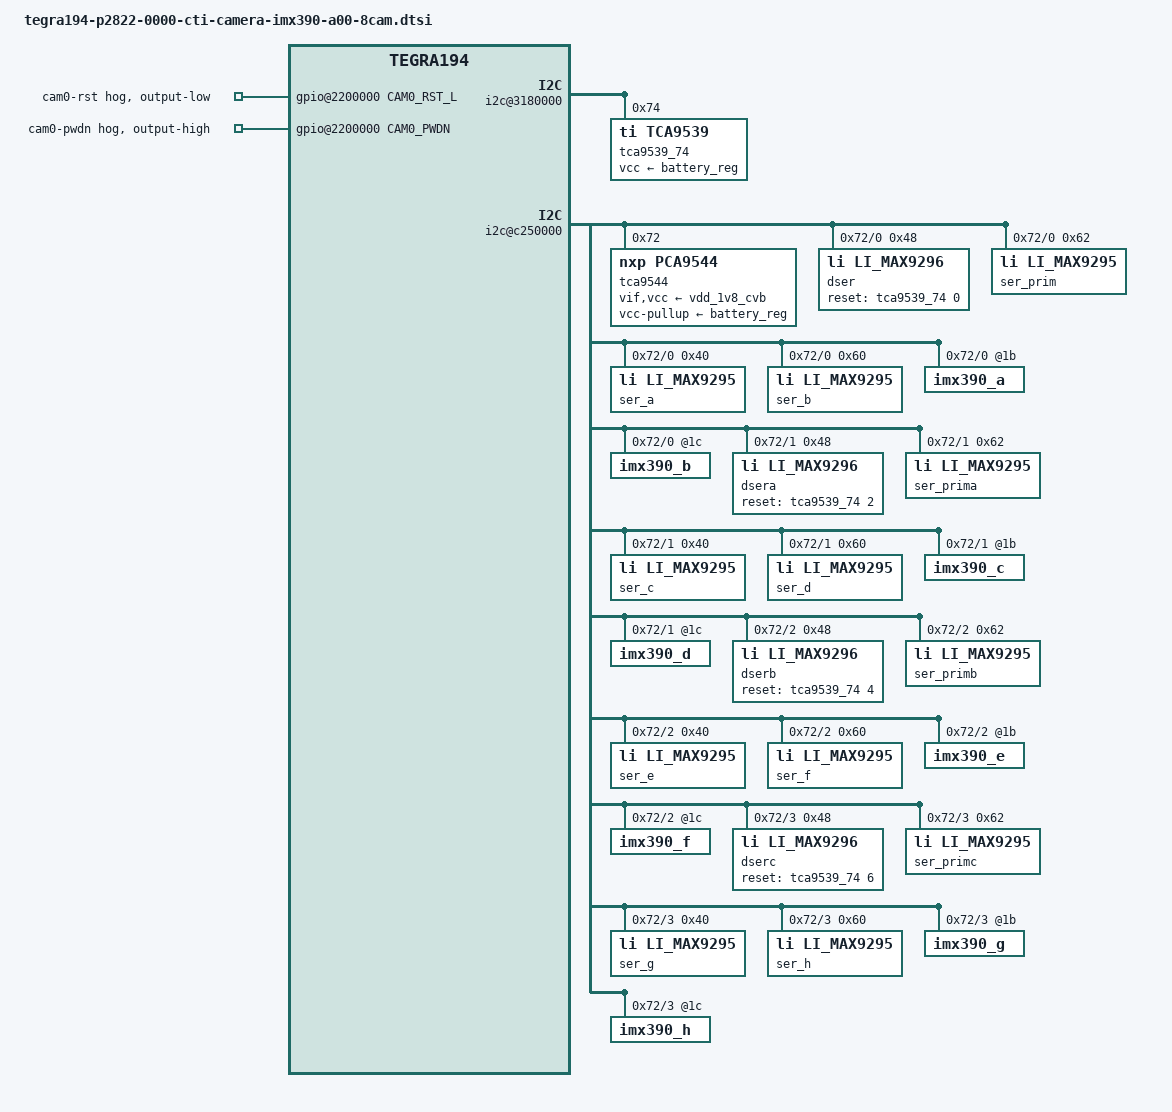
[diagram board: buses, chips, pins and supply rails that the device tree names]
/*
 * Copyright (c) 2018-2019, NVIDIA CORPORATION.  All rights reserved.
 *
 * This program is free software; you can redistribute it and/or modify
 * it under the terms of the GNU General Public License as published by
 * the Free Software Foundation; either version 2 of the License, or
 * (at your option) any later version.
 *
 * This program is distributed in the hope that it will be useful, but WITHOUT
 * ANY WARRANTY; without even the implied warranty of MERCHANTABILITY or
 * FITNESS FOR A PARTICULAR PURPOSE.  See the GNU General Public License for
 * more details.
 *
 * You should have received a copy of the GNU General Public License
 * along with this program.  If not, see <http://www.gnu.org/licenses/>.
 */
#include "tegra194-cti-camera-imx390-a00-8cam.dtsi"
#include "dt-bindings/clock/tegra194-clock.h"
#include "../../common/tegra194-fixed-regulator-p2822-1000.dtsi"

#define CAM0_RST_L	TEGRA194_MAIN_GPIO(H, 3)
#define CAM0_PWDN	TEGRA194_MAIN_GPIO(H, 6)
#define CAM1_RST_L	TEGRA194_MAIN_GPIO(T, 6)
#define CAM1_PWDN	TEGRA194_MAIN_GPIO(T, 5)
#define CAMERA_I2C_MUX_BUS(x) (0x1E + x)

/* camera control gpio definitions */

/ {
	gpio@2200000 {
		camera-control-output-low {
			gpio-hog;
			output-low;
			gpios = <CAM0_RST_L 0>;
			label = "cam0-rst";
			status = "okay";
		};
		camera-control-output-high {
			gpio-hog;
			output-high;
			gpios = <CAM0_PWDN 0>;
			label = "cam0-pwdn";
			status = "okay";
		};
	};

    i2c@3180000 {
		status = "okay";
		#address-cells = <1>;
		#size-cells = <0>;
		tca9539_74: tca9539@74 {
			compatible = "ti,tca9539";
			gpio-controller;
			#gpio-cells = <2>;
			ngpios = <16>;
			reg = <0x74>;
			vcc-supply = <&battery_reg>;
			status = "okay";
			
			tca9539_74_outlow {
				status = "okay";
				gpio-hog;
				gpios = <0 0 1 0 2 0 3 0 4 0 5 0 6 0 7 0 8 0 9 0 10 0 11 0 12 0 13 0>;
				output-low;
				label = "RST_A","PWDN_A","RST_B","PWDN_B","RST_C","PWDN_C","RST_D","PWDN_D";
			};
			tca9539_74_outhigh {
				status = "disabled";
			};
			tca9539_74_input {
				status = "disabled";
			};
		};
	};

	i2c@c250000 {
		tca9544@72 {
			compatible = "nxp,pca9544";
			reg = <0x72>;
			#address-cells = <1>;
			#size-cells = <0>;
			skip_mux_detect = "yes";
			vif-supply = <&vdd_1v8_cvb>;
			vcc-supply = <&vdd_1v8_cvb>;
            vcc-pullup-supply = <&battery_reg>;
			vcc_lp = "vcc";
			force_bus_start = <CAMERA_I2C_MUX_BUS(0)>;

			i2c@0 {
				reg = <0>;
				i2c-mux,deselect-on-exit;
				#address-cells = <1>;
				#size-cells = <0>;
				dser: max9296@48 {
					compatible = "li,li_max9296";
					reg = <0x48>;
					csi-mode = "2x4";
					max-src = <2>;
					reset-gpios = <&tca9539_74 0 GPIO_ACTIVE_HIGH>;
				};
				ser_prim: li_max9295_prim@62 {
					compatible = "li,li_max9295";
					reg = <0x62>;
					is-prim-ser;
				};
				ser_a: li_max9295_a@40 {
					compatible = "li,li_max9295";
					reg = <0x40>;
					nvidia,gmsl-dser-device = <&dser>;
				};
				ser_b: li_max9295_b@60 {
					compatible = "li,li_max9295";
					reg = <0x60>;
					nvidia,gmsl-dser-device = <&dser>;
				};
				imx390_a@1b {
					def-addr = <0x21>;
					/* Define any required hw resources needed by driver */
					/* ie. clocks, io pins, power sources */
					clocks = <&bpmp_clks TEGRA194_CLK_EXTPERIPH1>,
							<&bpmp_clks TEGRA194_CLK_EXTPERIPH1>;
					clock-names = "extperiph1", "pllp_grtba";
					mclk = "extperiph1";
					nvidia,gmsl-ser-device = <&ser_a>;
					nvidia,gmsl-dser-device = <&dser>;
                     
				};
				imx390_b@1c {
					def-addr = <0x21>;
					/* Define any required hw resources needed by driver */
					/* ie. clocks, io pins, power sources */
					clocks = <&bpmp_clks TEGRA194_CLK_EXTPERIPH1>,
							<&bpmp_clks TEGRA194_CLK_EXTPERIPH1>;
					clock-names = "extperiph1", "pllp_grtba";
					mclk = "extperiph1";
					nvidia,gmsl-ser-device = <&ser_b>;
					nvidia,gmsl-dser-device = <&dser>;
                     
				};
			};
			i2c@1 {
				reg = <1>;
				i2c-mux,deselect-on-exit;
				#address-cells = <1>;
				#size-cells = <0>;
				dsera: max9296@48 {
					compatible = "li,li_max9296";
					reg = <0x48>;
					csi-mode = "2x4";
					max-src = <2>;
					reset-gpios = <&tca9539_74 2 GPIO_ACTIVE_HIGH>;
				};
				ser_prima: li_max9295_prim@62 {
					compatible = "li,li_max9295";
					reg = <0x62>;
					is-prim-ser;
				};
				ser_c: li_max9295_a@40 {
					compatible = "li,li_max9295";
					reg = <0x40>;
					nvidia,gmsl-dser-device = <&dsera>;
				};
				ser_d: li_max9295_b@60 {
					compatible = "li,li_max9295";
					reg = <0x60>;
					nvidia,gmsl-dser-device = <&dsera>;
				};
				imx390_c@1b {
					def-addr = <0x21>;
					/* Define any required hw resources needed by driver */
					/* ie. clocks, io pins, power sources */
					clocks = <&bpmp_clks TEGRA194_CLK_EXTPERIPH1>,
							<&bpmp_clks TEGRA194_CLK_EXTPERIPH1>;
					clock-names = "extperiph1", "pllp_grtba";
					mclk = "extperiph1";
					nvidia,gmsl-ser-device = <&ser_c>;
					nvidia,gmsl-dser-device = <&dsera>;
                     
				};
				imx390_d@1c {
					def-addr = <0x21>;
					/* Define any required hw resources needed by driver */
					/* ie. clocks, io pins, power sources */
					clocks = <&bpmp_clks TEGRA194_CLK_EXTPERIPH1>,
							<&bpmp_clks TEGRA194_CLK_EXTPERIPH1>;
					clock-names = "extperiph1", "pllp_grtba";
					mclk = "extperiph1";
					nvidia,gmsl-ser-device = <&ser_d>;
					nvidia,gmsl-dser-device = <&dsera>;
                     
				};
			};
			i2c@2 {
				reg = <2>;
				i2c-mux,deselect-on-exit;
				#address-cells = <1>;
				#size-cells = <0>;
				dserb: max9296@48 {
					compatible = "li,li_max9296";
					reg = <0x48>;
					csi-mode = "2x4";
					max-src = <2>;
					reset-gpios = <&tca9539_74 4 GPIO_ACTIVE_HIGH>;
				};
				ser_primb: li_max9295_prim@62 {
					compatible = "li,li_max9295";
					reg = <0x62>;
					is-prim-ser;
				};
				ser_e: li_max9295_a@40 {
					compatible = "li,li_max9295";
					reg = <0x40>;
					nvidia,gmsl-dser-device = <&dserb>;
				};
				ser_f: li_max9295_b@60 {
					compatible = "li,li_max9295";
					reg = <0x60>;
					nvidia,gmsl-dser-device = <&dserb>;
				};
				imx390_e@1b {
					def-addr = <0x21>;
					/* Define any required hw resources needed by driver */
					/* ie. clocks, io pins, power sources */
					clocks = <&bpmp_clks TEGRA194_CLK_EXTPERIPH1>,
							<&bpmp_clks TEGRA194_CLK_EXTPERIPH1>;
					clock-names = "extperiph1", "pllp_grtba";
					mclk = "extperiph1";
					nvidia,gmsl-ser-device = <&ser_e>;
					nvidia,gmsl-dser-device = <&dserb>;
                     
				};
				imx390_f@1c {
					def-addr = <0x21>;
					/* Define any required hw resources needed by driver */
					/* ie. clocks, io pins, power sources */
					clocks = <&bpmp_clks TEGRA194_CLK_EXTPERIPH1>,
							<&bpmp_clks TEGRA194_CLK_EXTPERIPH1>;
					clock-names = "extperiph1", "pllp_grtba";
					mclk = "extperiph1";
					nvidia,gmsl-ser-device = <&ser_f>;
					nvidia,gmsl-dser-device = <&dserb>;
                     
				};
			};
			i2c@3 {
				reg = <3>;
				i2c-mux,deselect-on-exit;
				#address-cells = <1>;
				#size-cells = <0>;
				dserc: max9296@48 {
					compatible = "li,li_max9296";
					reg = <0x48>;
					csi-mode = "2x4";
					max-src = <2>;
					reset-gpios = <&tca9539_74 6 GPIO_ACTIVE_HIGH>;
				};
				ser_primc: li_max9295_prim@62 {
					compatible = "li,li_max9295";
					reg = <0x62>;
					is-prim-ser;
				};
				ser_g: li_max9295_a@40 {
					compatible = "li,li_max9295";
					reg = <0x40>;
					nvidia,gmsl-dser-device = <&dserc>;
				};
				ser_h: li_max9295_b@60 {
					compatible = "li,li_max9295";
					reg = <0x60>;
					nvidia,gmsl-dser-device = <&dserc>;
				};
				imx390_g@1b {
					def-addr = <0x21>;
					/* Define any required hw resources needed by driver */
					/* ie. clocks, io pins, power sources */
					clocks = <&bpmp_clks TEGRA194_CLK_EXTPERIPH1>,
							<&bpmp_clks TEGRA194_CLK_EXTPERIPH1>;
					clock-names = "extperiph1", "pllp_grtba";
					mclk = "extperiph1";
					nvidia,gmsl-ser-device = <&ser_g>;
					nvidia,gmsl-dser-device = <&dserc>;
                     
				};
				imx390_h@1c {
					def-addr = <0x21>;
					/* Define any required hw resources needed by driver */
					/* ie. clocks, io pins, power sources */
					clocks = <&bpmp_clks TEGRA194_CLK_EXTPERIPH1>,
							<&bpmp_clks TEGRA194_CLK_EXTPERIPH1>;
					clock-names = "extperiph1", "pllp_grtba";
					mclk = "extperiph1";
					nvidia,gmsl-ser-device = <&ser_h>;
					nvidia,gmsl-dser-device = <&dserc>;
                     
				};
			};
		};
	};
};
